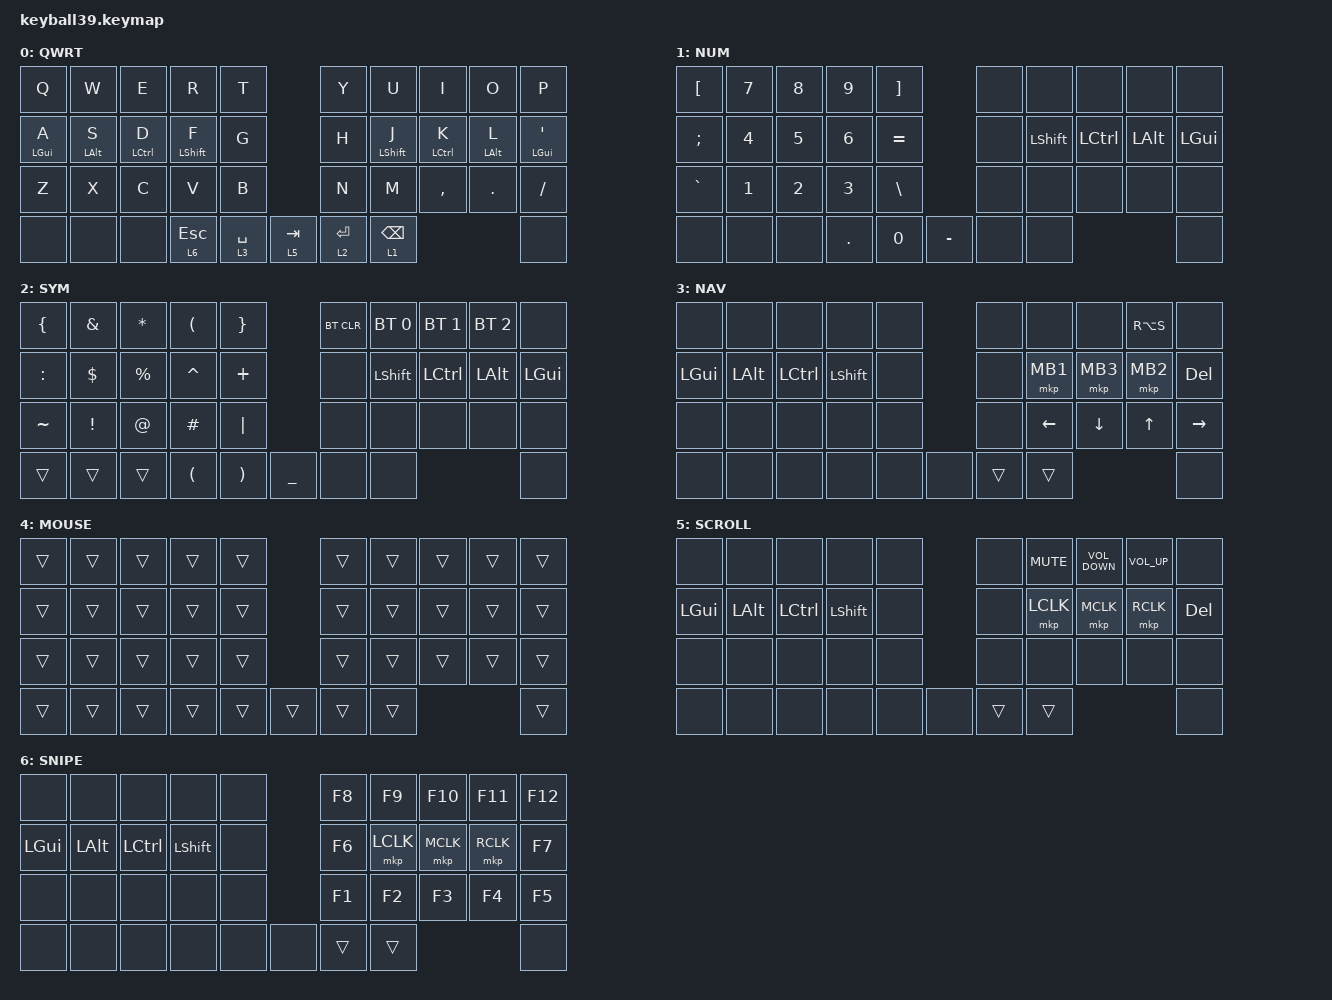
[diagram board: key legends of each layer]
#define DEFAULT 0
#define NUM     1
#define SYM     2
#define FUN     3
#define MOUSE   4
#define SCROLL  5
#define SNIPE   6

#include <behaviors/mouse_keys.dtsi>
#include <dt-bindings/zmk/mouse.h>
#include <behaviors.dtsi>
#include <dt-bindings/zmk/bt.h>
#include <dt-bindings/zmk/keys.h>
#include <dt-bindings/zmk/pointing.h>

&lt {
    tapping-term-ms = <240>;
    flavor = "balanced";
    quick-tap-ms = <150>;
};

&mt {
    tapping-term-ms = <200>;
    flavor = "tap-preferred";
    quick-tap-ms = <150>;
};

&caps_word { continue-list = <UNDERSCORE MINUS>; };

/ {
    // custom shift using mod-morph 

    behaviors {
        cmqus: comma_question {
            compatible = "zmk,behavior-mod-morph";
            label = "COMMA_QUESTION";
            #binding-cells = <0>;
            bindings = <&kp COMMA>, <&kp QUESTION>;

            mods = <(MOD_LSFT|MOD_RSFT)>;
        };

        dtsmi: dot_semi {
            compatible = "zmk,behavior-mod-morph";
            label = "DOT_SEMI";
            #binding-cells = <0>;
            bindings = <&kp DOT>, <&kp SEMI>;

            mods = <(MOD_LSFT|MOD_RSFT)>;
        };

        HMRShift: HMRShift {
            compatible = "zmk,behavior-hold-tap";
            label = "HMRSHIFT";
            bindings = <&kp>, <&kp>;

            #binding-cells = <2>;
            tapping-term-ms = <200>;
            hold-trigger-key-positions = <35 0 1 2 3 4 10 11 12 13 14 20 21 22 23 24 30 31 32 33 34 35>;
            flavor = "hold-preferred";
        };

        HMLShift: HMLShift {
            compatible = "zmk,behavior-hold-tap";
            label = "HMLSHIFT";
            bindings = <&kp>, <&kp>;

            #binding-cells = <2>;
            tapping-term-ms = <200>;
            hold-trigger-key-positions = <5 6 7 8 9 15 16 17 18 19 25 26 27 28 29 37 38 36>;
            flavor = "hold-preferred";
        };

        HMR: HMR {
            compatible = "zmk,behavior-hold-tap";
            label = "HMR";
            bindings = <&kp>, <&kp>;

            #binding-cells = <2>;
            tapping-term-ms = <200>;
            hold-trigger-key-positions = <35 0 1 2 3 4 10 11 12 13 14 20 21 22 23 24 30 31 32 33 34 35>;
            flavor = "tap-preferred";
            hold-trigger-on-release;
        };

        HML: HML {
            compatible = "zmk,behavior-hold-tap";
            label = "HML";
            bindings = <&kp>, <&kp>;

            #binding-cells = <2>;
            tapping-term-ms = <200>;
            hold-trigger-key-positions = <5 6 7 8 9 15 16 17 18 19 25 26 27 28 29 37 38 36>;
            flavor = "tap-preferred";
            hold-trigger-on-release;
        };

        HMRGui: HMRGui {
            compatible = "zmk,behavior-hold-tap";
            label = "HMRGUI";
            bindings = <&kp>, <&kp>;

            #binding-cells = <2>;
            tapping-term-ms = <300>;
            hold-trigger-key-positions = <35 0 1 2 3 4 10 11 12 13 14 20 21 22 23 24 30 31 32 33 34 35>;
            flavor = "tap-preferred";
        };

        HMLGui: HMLGui {
            compatible = "zmk,behavior-hold-tap";
            label = "HMLGUI";
            bindings = <&kp>, <&kp>;

            #binding-cells = <2>;
            tapping-term-ms = <300>;
            flavor = "tap-preferred";
            hold-trigger-key-positions = <36 5 6 7 8 9 15 16 17 18 19 25 26 27 28 29 36 37 38>;
        };
    };

    macros {
        Hiragana: Hiragana {
            compatible = "zmk,behavior-macro";
            #binding-cells = <0>;
            bindings = <&kp LC(SPACE)>;
            label = "HIRAGANA";
        };
    };

    keymap {
        compatible = "zmk,keymap";

        default_layer {
            label = "QWRT";
            bindings = <
&kp Q           &kp W            &kp E                &kp R              &kp T                                &kp Y            &kp U              &kp I                &kp O            &kp P
&HMLGui LGUI A  &HML LEFT_ALT S  &HML LEFT_CONTROL D  &HML LEFT_SHIFT F  &kp G                                &kp H            &HMR LEFT_SHIFT J  &HMR LEFT_CONTROL K  &HMR LEFT_ALT L  &HMRGui LGUI SQT
&kp Z           &kp X            &kp C                &kp V              &kp B                                &kp N            &kp M              &kp COMMA            &kp DOT          &kp SLASH
&none           &none            &none                &lt 6 ESCAPE       &lt 3 SPACE  &lt 5 TAB  &lt 2 ENTER  &lt 1 BACKSPACE                                                           &none
            >;
        };

        number_layer {
            label = "NUM";
            bindings = <
&kp LEFT_BRACKET  &kp N7  &kp N8  &kp N9   &kp RIGHT_BRACKET                    &none  &none           &none             &none         &none
&kp SEMI          &kp N4  &kp N5  &kp N6   &kp EQUAL                            &none  &kp LEFT_SHIFT  &kp LEFT_CONTROL  &kp LEFT_ALT  &kp LEFT_GUI
&kp GRAVE         &kp N1  &kp N2  &kp N3   &kp BACKSLASH                        &none  &none           &none             &none         &none
&none             &none   &none   &kp DOT  &kp N0             &kp MINUS  &none  &none                                                  &none
            >;
        };

        symbol_layer {
            label = "SYM";
            bindings = <
&kp LEFT_BRACE  &kp AMPERSAND  &kp ASTERISK  &kp LEFT_PARENTHESIS  &kp RIGHT_BRACE                               &bt BT_CLR  &bt BT_SEL 0    &bt BT_SEL 1      &bt BT_SEL 2  &none
&kp COLON       &kp DOLLAR     &kp PERCENT   &kp CARET             &kp PLUS                                      &none       &kp LEFT_SHIFT  &kp LEFT_CONTROL  &kp LEFT_ALT  &kp LEFT_GUI
&kp TILDE       &kp EXCL       &kp AT_SIGN   &kp HASH              &kp PIPE                                      &none       &none           &none             &none         &none
&trans          &trans         &trans        &kp LEFT_PARENTHESIS  &kp RIGHT_PARENTHESIS  &kp UNDERSCORE  &none  &none                                                       &none
            >;
        };

        navigation_layer {
            label = "NAV";
            bindings = <
&none         &none         &none             &none           &none                 &none   &none           &none           &kp RA(S)     &none
&kp LEFT_GUI  &kp LEFT_ALT  &kp LEFT_CONTROL  &kp LEFT_SHIFT  &none                 &none   &mkp MB1        &mkp MB3        &mkp MB2      &kp DEL
&none         &none         &none             &none           &none                 &none   &kp LEFT_ARROW  &kp DOWN_ARROW  &kp UP_ARROW  &kp RIGHT
&none         &none         &none             &none           &none  &none  &trans  &trans                                                &none
            >;
        };

        mouse_layer {
            label = "MOUSE";
            bindings = <
&trans  &trans  &trans  &trans  &trans                  &trans  &trans  &trans  &trans  &trans
&trans  &trans  &trans  &trans  &trans                  &trans  &trans  &trans  &trans  &trans
&trans  &trans  &trans  &trans  &trans                  &trans  &trans  &trans  &trans  &trans
&trans  &trans  &trans  &trans  &trans  &trans  &trans  &trans                          &trans
            >;
        };

        scroll_layer {
            label = "SCROLL";
            bindings = <
&none         &none         &none             &none           &none                 &none   &kp K_MUTE  &kp C_VOLUME_DOWN  &kp C_VOLUME_UP  &none
&kp LEFT_GUI  &kp LEFT_ALT  &kp LEFT_CONTROL  &kp LEFT_SHIFT  &none                 &none   &mkp LCLK   &mkp MCLK          &mkp RCLK        &kp DELETE
&none         &none         &none             &none           &none                 &none   &none       &none              &none            &none
&none         &none         &none             &none           &none  &none  &trans  &trans                                                  &none
            >;
        };

        snipe_layer {
            label = "SNIPE";
            bindings = <
&none         &none         &none             &none           &none                 &kp F8  &kp F9     &kp F10    &kp F11    &kp F12
&kp LEFT_GUI  &kp LEFT_ALT  &kp LEFT_CONTROL  &kp LEFT_SHIFT  &none                 &kp F6  &mkp LCLK  &mkp MCLK  &mkp RCLK  &kp F7
&none         &none         &none             &none           &none                 &kp F1  &kp F2     &kp F3     &kp F4     &kp F5
&none         &none         &none             &none           &none  &none  &trans  &trans                                   &none
            >;
        };
    };
};
